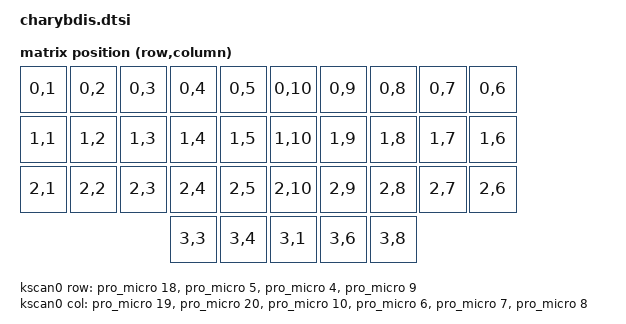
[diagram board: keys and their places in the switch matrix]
#include <dt-bindings/zmk/matrix_transform.h>
#include <dt-bindings/zmk/input_transform.h>

/ {
    chosen {
        zmk,kscan = &kscan0;
        zmk,matrix_transform = &default_transform;
    };

    /* Battery monitoring for nRF52 VDDH pin */
    vbatt: vbatt {
        compatible = "zmk,battery-nrf-vddh";
    };

    /* Physical to Logical key mapping */
    default_transform: keymap_transform_0 {
        compatible = "zmk,matrix-transform";
        columns = <10>;
        rows = <4>;

        map = <
            RC(0,1) RC(0,2) RC(0,3) RC(0,4) RC(0,5)  RC(0,10) RC(0,9) RC(0,8) RC(0,7) RC(0,6)
            RC(1,1) RC(1,2) RC(1,3) RC(1,4) RC(1,5)  RC(1,10) RC(1,9) RC(1,8) RC(1,7) RC(1,6)
            RC(2,1) RC(2,2) RC(2,3) RC(2,4) RC(2,5)  RC(2,10) RC(2,9) RC(2,8) RC(2,7) RC(2,6)
                                    RC(3,3) RC(3,4) RC(3,1)  RC(3,6) RC(3,8)
        >;
    };

    /* Main Keyboard Matrix Scanner */
    kscan0: kscan {
        compatible = "zmk,kscan-gpio-matrix";
        diode-direction = "row2col";
        wakeup-source;
        
        col-gpios
            = <&pro_micro 19 (GPIO_ACTIVE_HIGH | GPIO_PULL_DOWN)>
            , <&pro_micro 20 (GPIO_ACTIVE_HIGH | GPIO_PULL_DOWN)>
            , <&pro_micro 10 (GPIO_ACTIVE_HIGH | GPIO_PULL_DOWN)>
            , <&pro_micro 6 (GPIO_ACTIVE_HIGH | GPIO_PULL_DOWN)>
            , <&pro_micro 7 (GPIO_ACTIVE_HIGH | GPIO_PULL_DOWN)>
            , <&pro_micro 8 (GPIO_ACTIVE_HIGH | GPIO_PULL_DOWN)>
            ;

        row-gpios
            = <&pro_micro 18 GPIO_ACTIVE_HIGH>
            , <&pro_micro 5 GPIO_ACTIVE_HIGH>
            , <&pro_micro 4 GPIO_ACTIVE_HIGH>
            , <&pro_micro 9 GPIO_ACTIVE_HIGH>
            ;
    };
};

/* Apply offset for the right side in split configuration */
&default_transform {
    col-offset = <5>;
};

/* Enable SPI for the PMW3610 sensor */
&spi0 {
    status = "okay";
};

/* --- Input Layer Definitions --- */
#define DEF 0
#define NUM 1
#define NAV 2
#define SWT 3
#define FN 4
#define SCR 5
#define SNI 6
#define BOOT 7

/ {
    /* Virtual device to handle input data across split halves */
    split_inputs {
        #address-cells = <1>;
        #size-cells = <0>;

        trackball_split: trackball_split@0 {
            compatible = "zmk,input-split";
            reg = <0>;
        };
    };

    /* * Input Listener: Processes trackball data into cursor or scroll movement 
     * Compatible with badjeff PMW3610 driver 
     */
    trackball_listener: trackball_listener {
        compatible = "zmk,input-listener";
        status = "okay"; // Set to okay to enable tracking
        device = <&trackball_split>;

        /* Snipe Mode: Slows down cursor for precision when SNI layer is active */
        snipe {
            layers = <SNI>;
            input-processors = <&zip_xy_scaler 1 3>; 
        };

        /* Scroll Mode: Converts Y-axis movement to scrolling when NAV layer is active */
        scroll {
            layers = <NAV>;
            input-processors = 
                <&zip_xy_transform (INPUT_TRANSFORM_Y_INVERT)>, 
                <&zip_y_scaler 4 1>, 
                <&zip_xy_to_scroll_mapper>;
        };
    };
};
